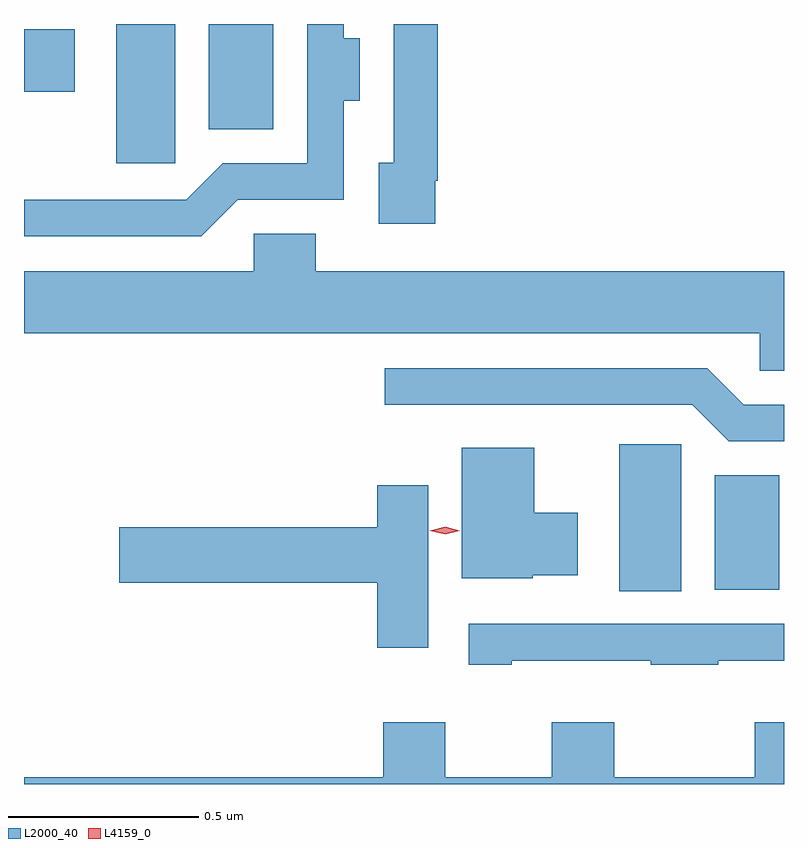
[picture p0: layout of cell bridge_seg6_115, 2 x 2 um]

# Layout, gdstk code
import gdstk
lib = gdstk.Library(unit=1e-6, precision=1e-09)
def R(c, l, rs):  # rectangles x0, y0, x1, y1
    for r in rs: c.add(gdstk.rectangle(r[:2], r[2:], *l))
def P(c, l, *ps):  # polygons
    for p in ps: c.add(gdstk.Polygon(p, *l))
L2000_40 = (2000, 40)
L4159_0 = (4159, 0)

bridge_seg6_115 = lib.new_cell('bridge_seg6_115')
R(bridge_seg6_115, L2000_40, [(460.358,981.289,460.522,981.676), (460.61,981.293,460.78,981.595), (459.035,982.415,459.19,982.782), (459.278,982.505,459.448,982.782), (458.792,982.604,458.926,982.768)])
P(bridge_seg6_115, L2000_40, [(459.354,982.32),(459.634,982.32),(459.634,982.58),(459.676,982.58),(459.676,982.744),(459.633,982.744),(459.633,982.782),(459.537,982.782),(459.537,982.416),(459.315,982.416),(459.219,982.32),(458.792,982.32),(458.792,982.224),(459.258,982.224)],
  [(459.874,982.369),(459.881,982.369),(459.881,982.782),(459.765,982.782),(459.765,982.417),(459.725,982.417),(459.725,982.257),(459.874,982.257)],
  [(460.792,982.132),(459.56,982.132),(459.56,982.23),(459.396,982.23),(459.396,982.132),(458.792,982.132),(458.792,981.968),(460.728,981.968),(460.728,981.87),(460.792,981.87)],
  [(460.792,981.78),(460.686,981.78),(460.59,981.876),(459.741,981.876),(459.741,981.78),(460.551,981.78),(460.647,981.684),(460.792,981.684)],
  [(460.131,981.332),(460.249,981.332),(460.249,981.496),(460.135,981.496),(460.135,981.667),(459.944,981.667),(459.944,981.323),(460.131,981.323)],
  [(459.856,981.568),(459.721,981.568),(459.721,981.458),(459.042,981.458),(459.042,981.311),(459.721,981.311),(459.721,981.141),(459.856,981.141)],
  [(460.075,981.107),(460.441,981.107),(460.441,981.096),(460.619,981.096),(460.619,981.107),(460.792,981.107),(460.792,981.204),(459.963,981.204),(459.963,981.096),(460.075,981.096)],
  [(460.792,980.944),(460.715,980.944),(460.715,980.8),(460.345,980.8),(460.345,980.944),(460.181,980.944),(460.181,980.8),(459.901,980.8),(459.901,980.944),(459.737,980.944),(459.737,980.8),(458.792,980.8),(458.792,980.782),(460.792,980.782)])
P(bridge_seg6_115, L4159_0, [(459.9,981.439),(459.86,981.449),(459.86,981.449),(459.86,981.449),(459.9,981.459),(459.939,981.449),(459.939,981.448),(459.939,981.448)])

lib.write_gds('bridge_seg6_115.gds')
